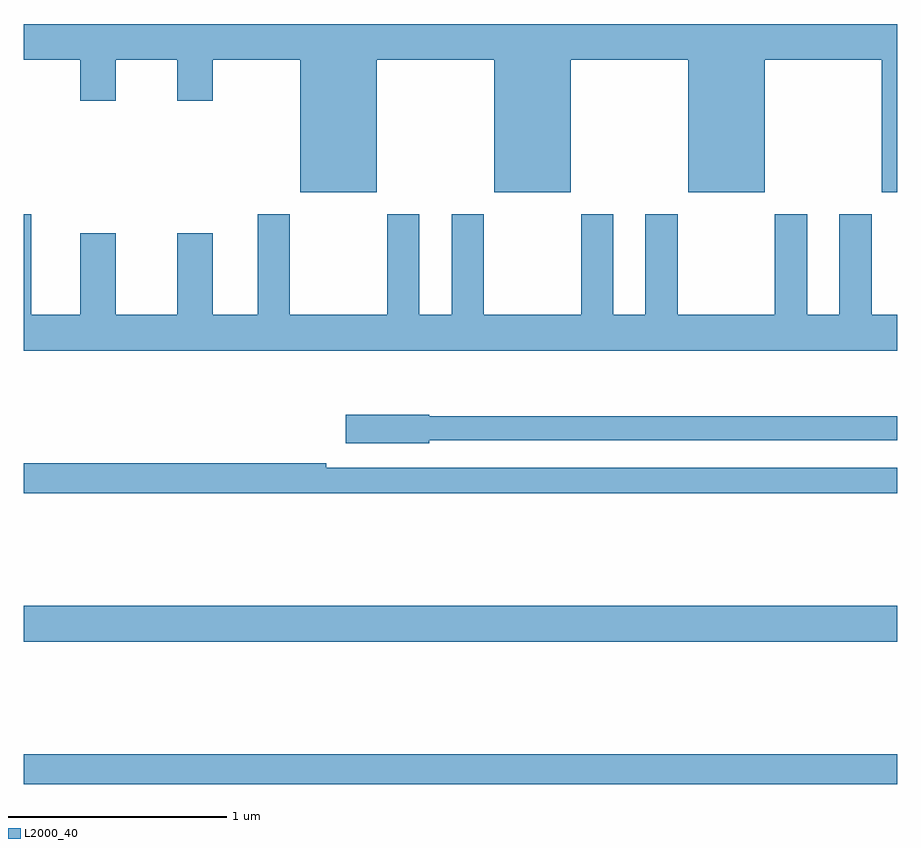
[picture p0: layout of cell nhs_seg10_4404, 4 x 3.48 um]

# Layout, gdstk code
import gdstk
lib = gdstk.Library(unit=1e-6, precision=1e-09)
def R(c, l, rs):  # rectangles x0, y0, x1, y1
    for r in rs: c.add(gdstk.rectangle(r[:2], r[2:], *l))
def P(c, l, *ps):  # polygons
    for p in ps: c.add(gdstk.Polygon(p, *l))
L2000_40 = (2000, 40)

nhs_seg10_4404 = lib.new_cell('nhs_seg10_4404')
R(nhs_seg10_4404, L2000_40, [(359,1324.972,363,1325.108), (359,1325.624,363,1325.788)])
P(nhs_seg10_4404, L2000_40, [(360.616,1328.288),(361.154,1328.288),(361.154,1327.682),(361.504,1327.682),(361.504,1328.288),(362.042,1328.288),(362.042,1327.682),(362.392,1327.682),(362.392,1328.288),(362.93,1328.288),(362.93,1327.682),(363,1327.682),(363,1328.452),(359,1328.452),(359,1328.288),(359.258,1328.288),(359.258,1328.1),(359.422,1328.1),(359.422,1328.288),(359.702,1328.288),(359.702,1328.1),(359.866,1328.1),(359.866,1328.288),(360.266,1328.288),(360.266,1327.682),(360.616,1327.682)],
  [(363,1327.12),(362.883,1327.12),(362.883,1327.582),(362.735,1327.582),(362.735,1327.12),(362.587,1327.12),(362.587,1327.582),(362.44,1327.582),(362.44,1327.12),(361.995,1327.12),(361.995,1327.582),(361.847,1327.582),(361.847,1327.12),(361.699,1327.12),(361.699,1327.582),(361.552,1327.582),(361.552,1327.12),(361.107,1327.12),(361.107,1327.582),(360.959,1327.582),(360.959,1327.12),(360.811,1327.12),(360.811,1327.582),(360.664,1327.582),(360.664,1327.12),(360.219,1327.12),(360.219,1327.582),(360.071,1327.582),(360.071,1327.12),(359.866,1327.12),(359.866,1327.495),(359.702,1327.495),(359.702,1327.12),(359.422,1327.12),(359.422,1327.495),(359.258,1327.495),(359.258,1327.12),(359.035,1327.12),(359.035,1327.582),(359,1327.582),(359,1326.956),(363,1326.956)],
  [(360.858,1326.546),(363,1326.546),(363,1326.655),(360.858,1326.655),(360.858,1326.663),(360.474,1326.663),(360.474,1326.533),(360.858,1326.533)],
  [(363,1326.42),(360.386,1326.42),(360.386,1326.44),(359,1326.44),(359,1326.304),(363,1326.304)])

lib.write_gds('nhs_seg10_4404.gds')
